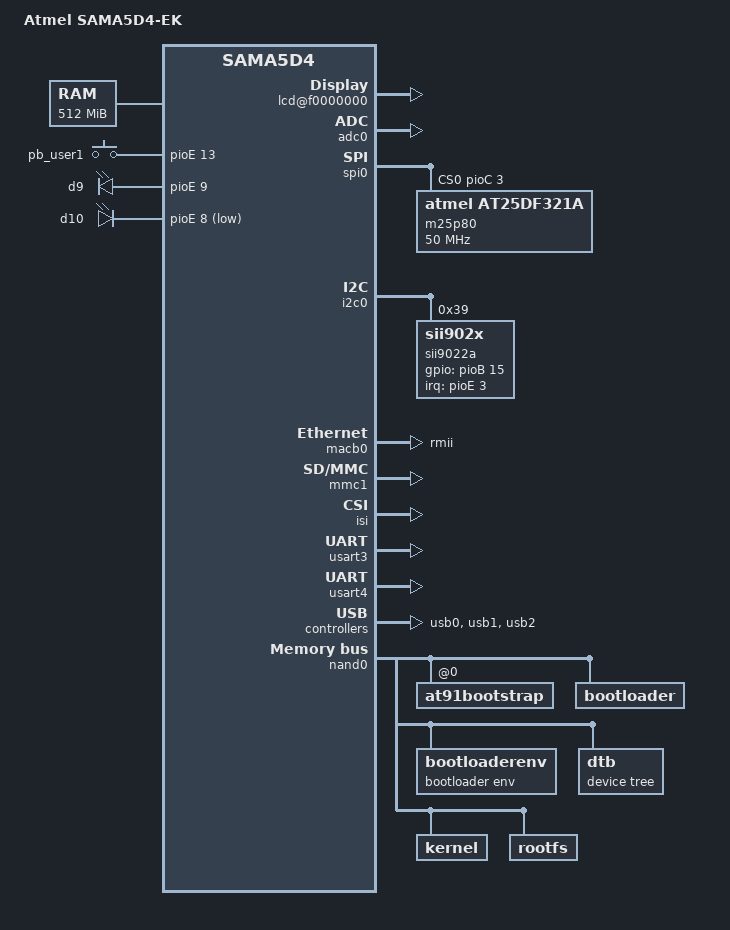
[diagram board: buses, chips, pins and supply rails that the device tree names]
/*
 * sama5d4ek.dts - Device Tree file for SAMA5D4 Evaluation Kit
 *
 *  Copyright (C) 2013 Atmel,
 *                2013 Nicolas Ferre <nicolas.ferre@atmel.com>
 *
 * Licensed under GPLv2 or later.
 */
/dts-v1/;
#include "sama5d4.dtsi"

/ {
	model = "Atmel SAMA5D4-EK";
	compatible = "atmel,sama5d4ek", "atmel,sama5d4", "atmel,sama5", "encoder-sii9022";

	chosen {
		bootargs = "console=ttyS0,115200 ignore_loglevel earlyprintk";
	};

	memory {
		reg = <0x20000000 0x20000000>;
	};

	clocks {
		#address-cells = <1>;
		#size-cells = <1>;
		ranges;

		main_clock: clock@0 {
			compatible = "atmel,osc", "fixed-clock";
			clock-frequency = <12000000>;
		};
	};

	ahb {
		apb {
			lcd_bus@f0000000 {
				status = "okay";

				lcd@f0000000 {
					status = "okay";
				};

				lcdovl1@f0000140 {
					status = "okay";
				};

				lcdovl2@f0000240 {
					status = "okay";
				};

				lcdheo1@f0000340 {
					status = "okay";
				};
			};

			adc0: adc@fc034000 {
				/* The vref depends on JP22 of EK. If connect 1-2 then use 3.3V. connect 2-3 use 3.0V */
				atmel,adc-vref = <3300>;
				/*atmel,adc-ts-wires = <4>;*/	/* Set up ADC touch screen */
				status = "okay";		/* Enable ADC IIO support */
			};

			mmc0: mmc@f8000000 {
				pinctrl-names = "default";
				pinctrl-0 = <&pinctrl_mmc0_clk_cmd_dat0 &pinctrl_mmc0_dat1_3 &pinctrl_mmc0_cd>;
				slot@1 {
					reg = <1>;
					bus-width = <4>;
					cd-gpios = <&pioE 5 0>;
				};
			};

			ssc0: ssc@f8008000 {
				status = "okay";
			};

			spi0: spi@f8010000 {
				cs-gpios = <&pioC 3 0>, <0>, <0>, <0>;
				status = "okay";
				m25p80@0 {
					compatible = "atmel,at25df321a";
					spi-max-frequency = <50000000>;
					reg = <0>;
				};
			};

			i2c0: i2c@f8014000 {
				status = "okay";

				sii9022a:sii9022a@39 {
					compatible = "sii902x";
					reg = <0x39>;
					interrupt-parent = <&pioE>;
					interrupts = <3 0x0>;
					pinctrl-names = "default";
					pinctrl-0 = <&pinctrl_sii9022a_irq>, <&pinctrl_sii9022a_reset>;
					gpios = <&pioB 15 0>;

					resolution = <720>;

			                i2s-fifo-routing =
							<(0x80 | 0x0)
							 0
							 0
							 0>;
				};
			};

			macb0: ethernet@f8020000 {
				phy-mode = "rmii";
				status = "okay";
			};

			mmc1: mmc@fc000000 {
				pinctrl-names = "default";
				pinctrl-0 = <&pinctrl_mmc1_clk_cmd_dat0 &pinctrl_mmc1_dat1_3 &pinctrl_mmc1_cd>;
				status = "okay";
				slot@0 {
					reg = <0>;
					bus-width = <4>;
					cd-gpios = <&pioE 6 0>;
				};
			};

			/* USART2 has conflict with ISI in ISI_VSYNC(PB3) & ISI_HSYNC(PB4).
			 * So disable USART2 and enable ISI
			 */
			isi: isi@f0008000 {
				status = "okay";
			};

			usart3: serial@fc00c000 {
				status = "okay";
			};

			usart4: serial@fc010000 {
				status = "okay";
			};

			watchdog@fc068640 {
				status = "okay";
			};

			pinctrl@fc06a000 {
				board {
					pinctrl_mmc0_cd: mmc0_cd {
						atmel,pins =
							<AT91_PIOE 5 AT91_PERIPH_GPIO AT91_PINCTRL_PULL_UP_DEGLITCH>;
					};
					pinctrl_mmc1_cd: mmc1_cd {
						atmel,pins =
							<AT91_PIOE 6 AT91_PERIPH_GPIO AT91_PINCTRL_PULL_UP_DEGLITCH>;
					};
					pinctrl_usba_vbus: usba_vbus {
						atmel,pins =
							<AT91_PIOE 31 AT91_PERIPH_GPIO AT91_PINCTRL_DEGLITCH>;
					};
					pinctrl_key_gpio: key_gpio_0 {
						atmel,pins =
							<AT91_PIOE 13 AT91_PERIPH_GPIO AT91_PINCTRL_PULL_UP_DEGLITCH>; /* PE13 gpio */
					};
					pinctrl_sii9022a_irq: sii9022a_irq {
						atmel,pins =
							<AT91_PIOE 3 AT91_PERIPH_GPIO AT91_PINCTRL_PULL_UP_DEGLITCH>;
					};
					pinctrl_sii9022a_reset: sii9022a_reset {
						atmel,pins =
							<AT91_PIOB 15 AT91_PERIPH_GPIO AT91_PINCTRL_PULL_UP>;
					};
				};
			};
		};

		vdec0: vdec@00300000 {
			status = "okay";
		};

		usb0: gadget@00400000 {
			atmel,vbus-gpio = <&pioE 31 GPIO_ACTIVE_HIGH>;
			pinctrl-names = "default";
			pinctrl-0 = <&pinctrl_usba_vbus>;
			status = "okay";
		};

		usb1: ohci@00500000 {
			num-ports = <3>;
			atmel,vbus-gpio = <0 /* &pioE 10 GPIO_ACTIVE_LOW */
					   &pioE 11 GPIO_ACTIVE_LOW
					   &pioE 12 GPIO_ACTIVE_LOW
					  >;
			status = "okay";
		};

		usb2: ehci@00600000 {
			status = "okay";
		};

		nand0: nand@80000000 {
			nand-bus-width = <8>;
			nand-ecc-mode = "hw";
			nand-on-flash-bbt;
			atmel,has-pmecc;
			status = "okay";

			at91bootstrap@0 {
				label = "at91bootstrap";
				reg = <0x0 0x40000>;
			};

			bootloader@40000 {
				label = "bootloader";
				reg = <0x40000 0x80000>;
			};

			bootloaderenv@c0000 {
				label = "bootloader env";
				reg = <0xc0000 0xc0000>;
			};

			dtb@180000 {
				label = "device tree";
				reg = <0x180000 0x80000>;
			};

			kernel@200000 {
				label = "kernel";
				reg = <0x200000 0x600000>;
			};

			rootfs@800000 {
				label = "rootfs";
				reg = <0x800000 0x0f800000>;
			};
		};
	};

	gpio_keys {
		compatible = "gpio-keys";
		#address-cells = <1>;
		#size-cells = <0>;

		pinctrl-names = "default";
		pinctrl-0 = <&pinctrl_key_gpio>;

		pb_user1 {
			label = "pb_user1";
			gpios = <&pioE 13 GPIO_ACTIVE_HIGH>;
			linux,code = <0x100>;
			gpio-key,wakeup;
		};
	};

	leds {
		compatible = "gpio-leds";
		status = "okay";

		d8 {
			label = "d8";
			gpios = <&pioE 28 GPIO_ACTIVE_LOW>;	/* PE28, conflicts with USART4 */
			status = "disabled";
		};

		d9 {
			label = "d9";
			gpios = <&pioE 9 GPIO_ACTIVE_HIGH>;
		};

		d10 {
			label = "d10";
			gpios = <&pioE 8 GPIO_ACTIVE_LOW>;
			linux,default-trigger = "heartbeat";
		};
	};

	sound@sii9022a {
		compatible = "atmel,asoc-sii9022";

		atmel,model = "sii9022 @ SAMA5D3EK";
		atmel,audio-routing = "Playback", "TX";

		atmel,ssc-controller = <&ssc0>;
		atmel,audio-codec = <&sii9022a>;
	};
};

#include "sama5d4ek_pin_sleep_state.dtsi"
